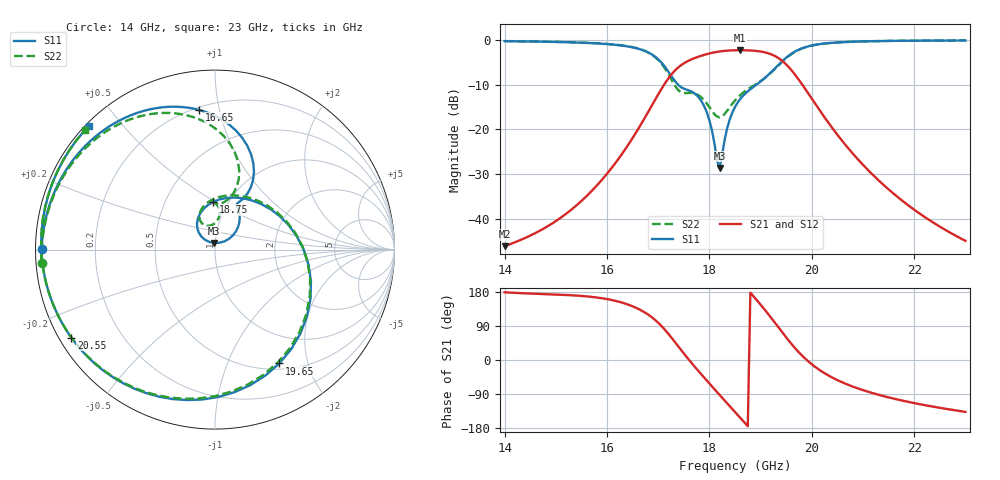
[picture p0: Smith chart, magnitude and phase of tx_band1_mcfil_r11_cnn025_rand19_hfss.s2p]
! Touchstone file exported from HFSS 3D Layout Design 2026.1.0
!  File:  D:/Work/SIM/ADS_AUTO_SIM/projects/RFSOC_RF/TX_Fillter.aedt
!  Generated:  11:49:09 PM Aug 30, 2026
!  Design:  TX_BAND1_MCFIL_R11_CNN025
!  Project:  TX_Fillter
# GHz S MA R 50.000000
! Terminal data exported
! Port[1] = Port1
! Port[2] = Port2
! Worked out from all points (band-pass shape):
!   181 points, 14 GHz to 23 GHz, reference 50 ohm
!   highest |S21| = -2.31 dB at 18.6 GHz (marker M1); lowest = -46.0 dB at 14 GHz (marker M2)
!   |S21| within 3 dB of the highest: 17.49 GHz to 19.48 GHz (1.991 GHz wide, 10.8 % of centre)
!   lowest |S11| = -28.6 dB at 18.2 GHz (marker M3), VSWR 1.08, Z = 49.4 + j3.65 ohm
!   |S11| at or under -10 dB: 17.39 GHz to 18.92 GHz (1.532 GHz wide, 8.44 % of centre)
!   |S22| runs from -17.3 to -0.1 dB; largest |S21 - S12| = 4.7e-15
!   S11 on the Smith chart (normalised r, x): 14 GHz: 0.02, +0.00; 16.65 GHz: 0.21, +0.87; 18.75 GHz: 0.85, +0.49; 19.65 GHz: 0.58, -1.56; 20.55 GHz: 0.03, -0.28; 23 GHz: 0.01, +0.41
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14  0.9664 179.7  0.004991 178.6  0.004991 178.6  0.9683 -175.4
15.5  0.9293 143.9  0.01593 169.1  0.01593 169.1  0.9328 150.6
16.1  0.8872 123.5  0.03782 158.1  0.03782 158.1  0.8913 131.2
16.65  0.7839 96.6  0.1107 132.3  0.1107 132.3  0.7856 105.3
17  0.6065 72.8  0.2461 98.3  0.2461 98.3  0.5965 82.0
17.35  0.3335 60.6  0.4683 43.3  0.4683 43.3  0.2946 74.6
17.65  0.2651 61.6  0.6052 -7.6  0.6052 -7.6  0.2558 89.4
17.95  0.155 41.1  0.6932 -54.4  0.6932 -54.4  0.1944 82.6
18.2  0.03709 96.6  0.742 -92.3  0.742 -92.3  0.1365 102.3
18.35  0.1047 136.3  0.7578 -114.9  0.7578 -114.9  0.1626 116.3
18.5  0.1781 124.3  0.765 -137.3  0.765 -137.3  0.2104 114.4
18.6  0.2181 112.3  0.7661 -152.2  0.7661 -152.2  0.2411 107.5
18.75  0.2667 91.9  0.7631 -174.7  0.7631 -174.7  0.2807 92.2
18.95  0.3257 61.3  0.7478 154.1  0.7478 154.1  0.3309 64.9
19.2  0.4329 18.2  0.6918 112.4  0.6918 112.4  0.4282 21.6
19.45  0.5977 -27.1  0.5645 68.2  0.5645 68.2  0.5884 -26.2
19.65  0.7283 -60.5  0.4245 34.8  0.4245 34.8  0.7205 -61.1
19.8  0.8015 -82.1  0.3247 12.9  0.3247 12.9  0.7959 -83.3
20  0.8653 -105.7  0.2205 -11.4  0.2205 -11.4  0.8624 -107.1
20.55  0.9387 -148.5  0.08022 -56.2  0.08022 -56.2  0.939 -149.5
21.5  0.9722 171.6  0.02145 -98.7  0.02145 -98.7  0.9728 172.0
23  0.9838 135.7  0.005728 -137.0  0.005728 -137.0  0.984 137.4
